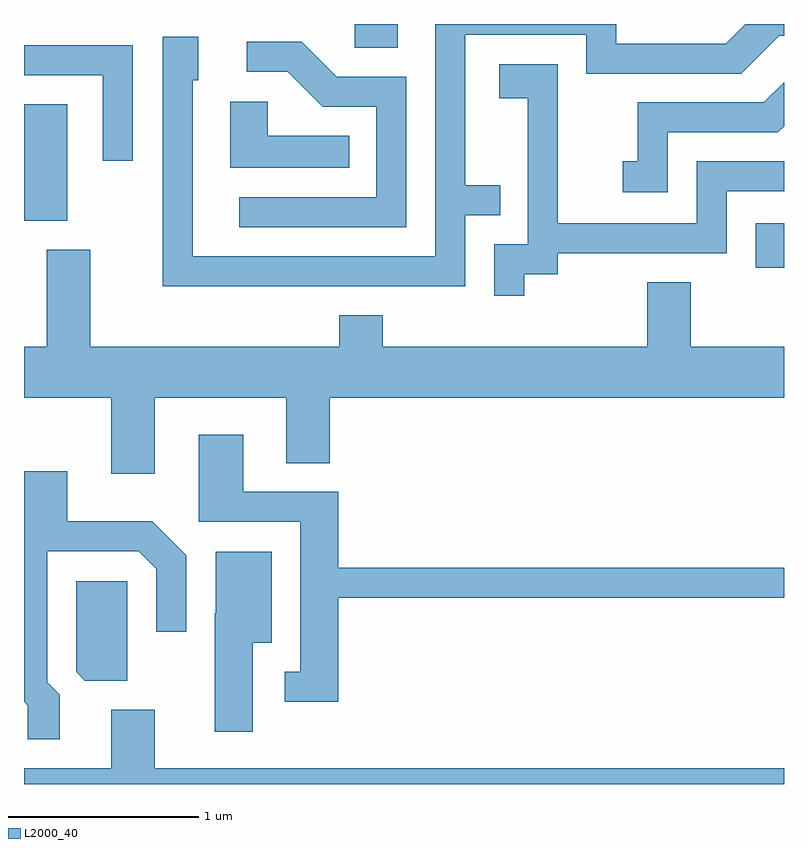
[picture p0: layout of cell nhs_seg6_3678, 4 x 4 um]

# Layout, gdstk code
import gdstk
lib = gdstk.Library(unit=1e-6, precision=1e-09)
def R(c, l, rs):  # rectangles x0, y0, x1, y1
    for r in rs: c.add(gdstk.rectangle(r[:2], r[2:], *l))
def P(c, l, *ps):  # polygons
    for p in ps: c.add(gdstk.Polygon(p, *l))
L2000_40 = (2000, 40)

nhs_seg6_3678 = lib.new_cell('nhs_seg6_3678')
R(nhs_seg6_3678, L2000_40, [(299.461,1612.878,299.611,1613.114), (295.611,1613.126,295.839,1613.739), (297.351,1614.036,297.579,1614.162)])
P(nhs_seg6_3678, L2000_40, [(297.934,1613.156),(298.118,1613.156),(298.118,1613.314),(297.934,1613.314),(297.934,1614.106),(298.571,1614.106),(298.571,1613.901),(299.387,1613.901),(299.587,1614.101),(299.611,1614.101),(299.611,1614.162),(299.407,1614.162),(299.304,1614.059),(298.729,1614.059),(298.729,1614.162),(297.776,1614.162),(297.776,1612.939),(296.499,1612.939),(296.499,1613.866),(296.529,1613.866),(296.529,1614.094),(296.341,1614.094),(296.341,1612.781),(297.934,1612.781)],
  [(297.624,1613.884),(297.257,1613.884),(297.072,1614.069),(296.783,1614.069),(296.783,1613.911),(296.999,1613.911),(297.184,1613.726),(297.466,1613.726),(297.466,1613.249),(296.743,1613.249),(296.743,1613.091),(297.624,1613.091)],
  [(296.184,1614.049),(295.611,1614.049),(295.611,1613.891),(296.026,1613.891),(296.026,1613.443),(296.184,1613.443)],
  [(298.244,1612.846),(298.419,1612.846),(298.419,1612.956),(299.309,1612.956),(299.309,1613.281),(299.611,1613.281),(299.611,1613.439),(299.151,1613.439),(299.151,1613.114),(298.419,1613.114),(298.419,1613.949),(298.111,1613.949),(298.111,1613.771),(298.261,1613.771),(298.261,1613.004),(298.086,1613.004),(298.086,1612.733),(298.244,1612.733)],
  [(298.999,1613.591),(299.577,1613.591),(299.611,1613.625),(299.611,1613.856),(299.504,1613.749),(298.841,1613.749),(298.841,1613.439),(298.763,1613.439),(298.763,1613.276),(298.999,1613.276)],
  [(297.323,1613.574),(296.894,1613.574),(296.894,1613.754),(296.696,1613.754),(296.696,1613.406),(297.323,1613.406)],
  [(295.959,1612.974),(295.731,1612.974),(295.731,1612.464),(295.611,1612.464),(295.611,1612.196),(296.071,1612.196),(296.071,1611.796),(296.299,1611.796),(296.299,1612.196),(296.991,1612.196),(296.991,1611.851),(297.219,1611.851),(297.219,1612.196),(299.611,1612.196),(299.611,1612.464),(299.119,1612.464),(299.119,1612.804),(298.891,1612.804),(298.891,1612.464),(297.499,1612.464),(297.499,1612.629),(297.271,1612.629),(297.271,1612.464),(295.959,1612.464)],
  [(297.264,1611.141),(299.611,1611.141),(299.611,1611.299),(297.264,1611.299),(297.264,1611.699),(296.764,1611.699),(296.764,1611.999),(296.531,1611.999),(296.531,1611.541),(297.066,1611.541),(297.066,1610.754),(296.983,1610.754),(296.983,1610.596),(297.264,1610.596)],
  [(295.799,1610.632),(295.734,1610.697),(295.734,1611.386),(296.214,1611.386),(296.306,1611.294),(296.306,1610.963),(296.464,1610.963),(296.464,1611.367),(296.287,1611.544),(295.839,1611.544),(295.839,1611.809),(295.611,1611.809),(295.611,1610.594),(295.631,1610.574),(295.631,1610.398),(295.799,1610.398)],
  [(296.814,1610.906),(296.914,1610.906),(296.914,1611.384),(296.621,1611.384),(296.621,1611.06),(296.616,1611.06),(296.616,1610.436),(296.814,1610.436)],
  [(296.154,1611.229),(295.886,1611.229),(295.886,1610.752),(295.932,1610.706),(296.154,1610.706)],
  [(299.611,1610.244),(296.299,1610.244),(296.299,1610.554),(296.071,1610.554),(296.071,1610.244),(295.611,1610.244),(295.611,1610.162),(299.611,1610.162)])

lib.write_gds('nhs_seg6_3678.gds')
